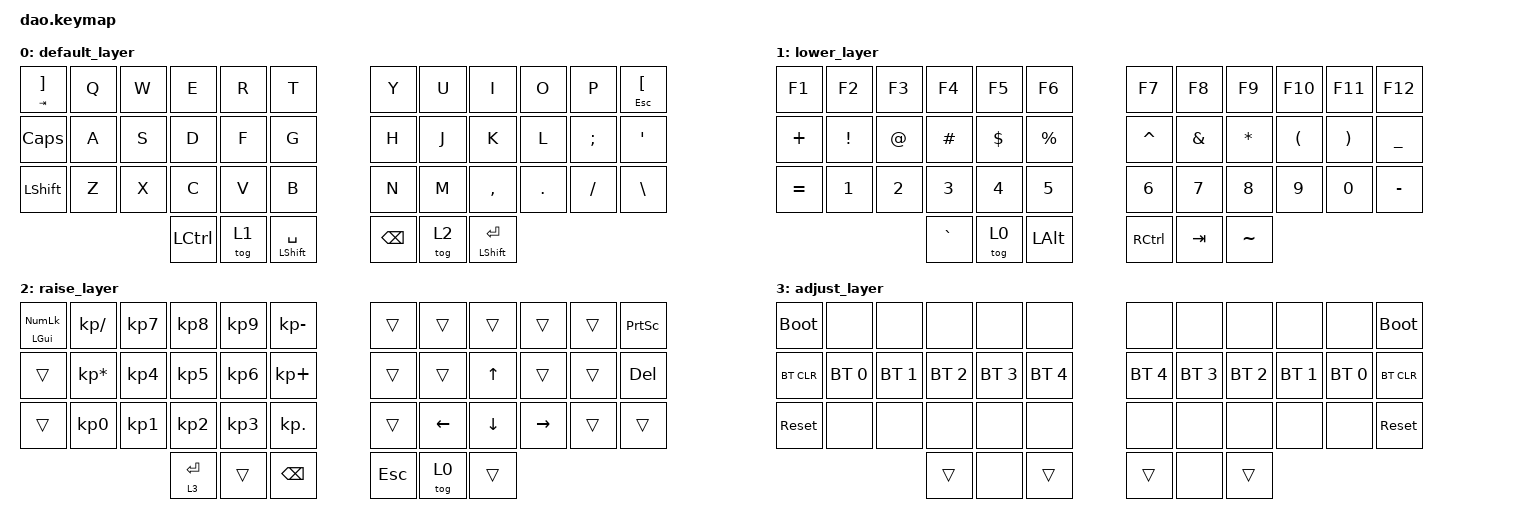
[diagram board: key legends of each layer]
/*
 * Copyright (c) 2021 Rafael Yumagulov
 *
 * SPDX-License-Identifier: MIT
 */

#include <behaviors.dtsi>
#include <dt-bindings/zmk/keys.h>
#include <dt-bindings/zmk/bt.h>

#define DEF 0
#define LWR 1
#define RSE 2
#define ADJ 3

&lt { quick_tap_ms = <200>; };
&mt { quick_tap_ms = <200>; };

/ {
    chosen {
        zmk,matrix_transform = &default_transform;
        // zmk,matrix_transform = &extra_keys_transform;
    };
};

/ {
        keymap {
        compatible = "zmk,keymap";

        default_layer {
            bindings = <
&mt TAB RBKT  &kp Q  &kp W  &kp E      &kp R   &kp T                 &kp Y          &kp U   &kp I                 &kp O    &kp P     &mt ESCAPE LEFT_BRACKET
&kp CAPSLOCK  &kp A  &kp S  &kp D      &kp F   &kp G                 &kp H          &kp J   &kp K                 &kp L    &kp SEMI  &kp APOSTROPHE
&kp LSHIFT    &kp Z  &kp X  &kp C      &kp V   &kp B                 &kp N          &kp M   &kp COMMA             &kp DOT  &kp FSLH  &kp BACKSLASH
                            &kp LCTRL  &tog 1  &mt LEFT_SHIFT SPACE  &kp BACKSPACE  &tog 2  &mt LEFT_SHIFT ENTER
            >;
        };

        lower_layer {
            bindings = <
&kp F1     &kp F2    &kp F3  &kp F4     &kp F5    &kp F6        &kp F7     &kp F8    &kp F9     &kp F10   &kp F11   &kp F12
&kp PLUS   &kp EXCL  &kp AT  &kp HASH   &kp DLLR  &kp PRCNT     &kp CARET  &kp AMPS  &kp STAR   &kp LPAR  &kp RPAR  &kp UNDER
&kp EQUAL  &kp N1    &kp N2  &kp N3     &kp N4    &kp N5        &kp N6     &kp N7    &kp N8     &kp N9    &kp N0    &kp MINUS
                             &kp GRAVE  &tog 0    &kp LEFT_ALT  &kp RCTRL  &kp TAB   &kp TILDE
            >;
        };

        raise_layer {
            bindings = <
&mt LGUI KP_NUM  &kp KP_SLASH     &kp KP_N7  &kp KP_N8    &kp KP_N9  &kp KP_MINUS   &trans      &trans    &trans    &trans     &trans  &kp PRINTSCREEN
&trans           &kp KP_MULTIPLY  &kp KP_N4  &kp KP_N5    &kp KP_N6  &kp KP_PLUS    &trans      &trans    &kp UP    &trans     &trans  &kp DELETE
&trans           &kp KP_N0        &kp KP_N1  &kp KP_N2    &kp KP_N3  &kp KP_DOT     &trans      &kp LEFT  &kp DOWN  &kp RIGHT  &trans  &trans
                                             &lt 3 ENTER  &trans     &kp BACKSPACE  &kp ESCAPE  &tog 0    &trans
            >;
        };
                adjust_layer {
                        bindings = <
 &bootloader   &none          &none          &none          &none          &none          &none          &none          &none          &none          &none          &bootloader
 &bt BT_CLR    &bt BT_SEL 0   &bt BT_SEL 1   &bt BT_SEL 2   &bt BT_SEL 3   &bt BT_SEL 4   &bt BT_SEL 4   &bt BT_SEL 3   &bt BT_SEL 2   &bt BT_SEL 1   &bt BT_SEL 0   &bt BT_CLR
 &sys_reset        &none          &none          &none          &none          &none          &none          &none          &none          &none          &none          &sys_reset
                                             &trans         &none          &trans         &trans         &none          &trans
                        >;
                };
        };
};
